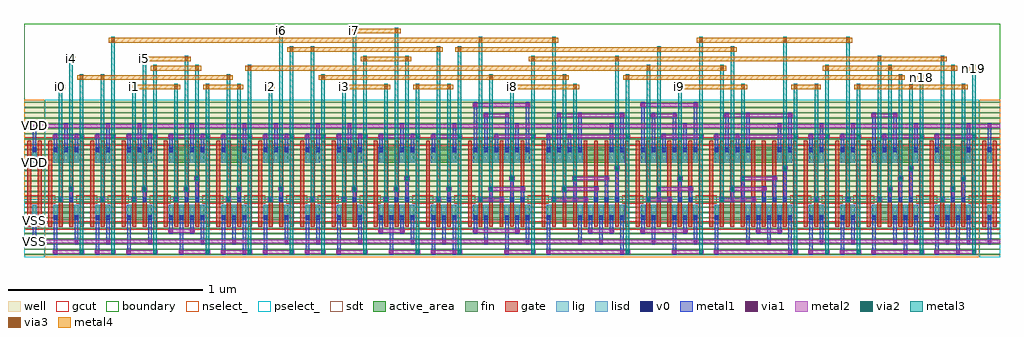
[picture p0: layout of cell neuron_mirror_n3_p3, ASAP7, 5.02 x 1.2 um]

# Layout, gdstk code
import gdstk
lib = gdstk.Library(unit=1e-6, precision=2.5e-10)
def R(c, l, rs):  # rectangles x0, y0, x1, y1
    for r in rs: c.add(gdstk.rectangle(r[:2], r[2:], *l))
def A(c, l, x, y, w, h, nx, ny, dx, dy):  # array of equal rectangles
    R(c, l, [(x+i*dx, y+j*dy, x+i*dx+w, y+j*dy+h) for i in range(nx) for j in range(ny)])
well = (1, 0)
fin = (2, 0)
gate = (7, 0)
gcut = (10, 0)
active_area = (11, 0)
nselect_ = (12, 0)
pselect_ = (13, 0)
lig = (16, 0)
lisd = (17, 0)
v0 = (18, 0)
metal1 = (19, 0)
metal2 = (20, 0)
via1 = (21, 0)
via2 = (25, 0)
metal3 = (30, 0)
via3 = (35, 0)
metal4 = (40, 0)
sdt = (88, 0)
boundary = (100, 0)

neuron_mirror_n3_p3 = lib.new_cell('neuron_mirror_n3_p3')
R(neuron_mirror_n3_p3, well, [(0,0.297,0.108,0.81), (0.108,0.297,0.324,0.81), (0.324,0.297,0.486,0.81), (0.486,0.297,0.702,0.81), (0.702,0.297,0.972,0.81), (0.972,0.297,1.188,0.81), (1.188,0.297,1.404,0.81), (1.404,0.297,1.566,0.81), (1.566,0.297,1.782,0.81), (1.782,0.297,2.052,0.81), (2.052,0.297,2.268,0.81), (2.268,0.297,2.646,0.81), (2.646,0.297,3.132,0.81), (3.132,0.297,3.51,0.81), (3.51,0.297,3.996,0.81), (3.996,0.297,4.158,0.81), (4.158,0.297,4.32,0.81), (4.32,0.297,4.644,0.81), (4.644,0.297,4.914,0.81), (4.914,0.297,5.022,0.81)])
A(neuron_mirror_n3_p3, fin, 0, 0.01, 0.108, 0.007, 1, 30, 0, 0.027)
A(neuron_mirror_n3_p3, fin, 0.108, 0.01, 0.216, 0.007, 1, 30, 0, 0.027)
A(neuron_mirror_n3_p3, fin, 0.324, 0.01, 0.162, 0.007, 1, 30, 0, 0.027)
A(neuron_mirror_n3_p3, fin, 0.486, 0.01, 0.216, 0.007, 1, 30, 0, 0.027)
A(neuron_mirror_n3_p3, fin, 0.702, 0.01, 0.27, 0.007, 1, 30, 0, 0.027)
A(neuron_mirror_n3_p3, fin, 0.972, 0.01, 0.216, 0.007, 1, 30, 0, 0.027)
A(neuron_mirror_n3_p3, fin, 1.188, 0.01, 0.216, 0.007, 1, 30, 0, 0.027)
A(neuron_mirror_n3_p3, fin, 1.404, 0.01, 0.162, 0.007, 1, 30, 0, 0.027)
A(neuron_mirror_n3_p3, fin, 1.566, 0.01, 0.216, 0.007, 1, 30, 0, 0.027)
A(neuron_mirror_n3_p3, fin, 1.782, 0.01, 0.27, 0.007, 1, 30, 0, 0.027)
A(neuron_mirror_n3_p3, fin, 2.052, 0.01, 0.216, 0.007, 1, 30, 0, 0.027)
A(neuron_mirror_n3_p3, fin, 2.268, 0.01, 0.378, 0.007, 1, 30, 0, 0.027)
A(neuron_mirror_n3_p3, fin, 2.646, 0.01, 0.486, 0.007, 1, 30, 0, 0.027)
A(neuron_mirror_n3_p3, fin, 3.132, 0.01, 0.378, 0.007, 1, 30, 0, 0.027)
A(neuron_mirror_n3_p3, fin, 3.51, 0.01, 0.486, 0.007, 1, 30, 0, 0.027)
A(neuron_mirror_n3_p3, fin, 3.996, 0.01, 0.162, 0.007, 1, 30, 0, 0.027)
A(neuron_mirror_n3_p3, fin, 4.158, 0.01, 0.162, 0.007, 1, 30, 0, 0.027)
A(neuron_mirror_n3_p3, fin, 4.32, 0.01, 0.324, 0.007, 1, 30, 0, 0.027)
A(neuron_mirror_n3_p3, fin, 4.644, 0.01, 0.27, 0.007, 1, 30, 0, 0.027)
A(neuron_mirror_n3_p3, fin, 4.914, 0.01, 0.108, 0.007, 1, 30, 0, 0.027)
A(neuron_mirror_n3_p3, gate, 0.017, 0.157, 0.02, 0.442, 93, 1, 0.054, 0)
R(neuron_mirror_n3_p3, gcut, [(0,0.14,0.108,0.184), (0.108,0.14,0.324,0.184), (0.324,0.14,0.486,0.184), (0.486,0.14,0.702,0.184), (0.702,0.14,0.972,0.184), (0.972,0.14,1.188,0.184), (1.188,0.14,1.404,0.184), (1.404,0.14,1.566,0.184), (1.566,0.14,1.782,0.184), (1.782,0.14,2.052,0.184), (2.052,0.14,2.268,0.184), (2.268,0.14,2.646,0.184), (2.646,0.14,3.132,0.184), (3.132,0.14,3.51,0.184), (3.51,0.14,3.996,0.184), (3.996,0.14,4.158,0.184), (4.158,0.14,4.32,0.184), (4.32,0.14,4.644,0.184), (4.644,0.14,4.914,0.184), (4.914,0.14,5.022,0.184), (0,0.275,0.108,0.319), (0.108,0.275,0.162,0.319), (0.27,0.275,0.324,0.319), (0.324,0.275,0.378,0.319), (0.432,0.275,0.486,0.319), (0.486,0.275,0.54,0.319), (0.648,0.275,0.702,0.319), (0.702,0.275,0.756,0.319), (0.918,0.275,0.972,0.319), (0.972,0.275,1.026,0.319), (1.134,0.275,1.188,0.319), (1.188,0.275,1.242,0.319), (1.35,0.275,1.404,0.319), (1.404,0.275,1.458,0.319), (1.512,0.275,1.566,0.319), (1.566,0.275,1.62,0.319), (1.728,0.275,1.782,0.319), (1.782,0.275,1.836,0.319), (1.998,0.275,2.052,0.319), (2.052,0.275,2.106,0.319), (2.214,0.275,2.268,0.319), (2.268,0.275,2.322,0.319), (2.592,0.275,2.646,0.319), (2.646,0.275,2.7,0.319), (3.078,0.275,3.132,0.319), (3.132,0.275,3.186,0.319), (3.456,0.275,3.51,0.319), (3.51,0.275,3.564,0.319), (3.942,0.275,3.996,0.319), (3.996,0.275,4.05,0.319), (4.104,0.275,4.158,0.319), (4.158,0.275,4.212,0.319), (4.266,0.275,4.32,0.319), (4.32,0.275,4.374,0.319), (4.59,0.275,4.644,0.319), (4.644,0.275,4.698,0.319), (4.86,0.275,4.914,0.319), (4.914,0.275,5.022,0.319), (0,0.572,0.108,0.616), (0.108,0.572,0.324,0.616), (0.324,0.572,0.486,0.616), (0.486,0.572,0.702,0.616), (0.702,0.572,0.972,0.616), (0.972,0.572,1.188,0.616), (1.188,0.572,1.404,0.616), (1.404,0.572,1.566,0.616), (1.566,0.572,1.782,0.616), (1.782,0.572,2.052,0.616), (2.052,0.572,2.268,0.616), (2.268,0.572,2.646,0.616), (2.646,0.572,3.132,0.616), (3.132,0.572,3.51,0.616), (3.51,0.572,3.996,0.616), (3.996,0.572,4.158,0.616), (4.158,0.572,4.32,0.616), (4.32,0.572,4.644,0.616), (4.644,0.572,4.914,0.616), (4.914,0.572,5.022,0.616)])
R(neuron_mirror_n3_p3, active_area, [(0.046,0.189,0.062,0.27), (0.154,0.189,0.278,0.27), (0.37,0.189,0.44,0.27), (0.532,0.189,0.656,0.27), (0.748,0.189,0.926,0.27), (1.018,0.189,1.142,0.27), (1.234,0.189,1.358,0.27), (1.45,0.189,1.52,0.27), (1.612,0.189,1.736,0.27), (1.828,0.189,2.006,0.27), (2.098,0.189,2.222,0.27), (2.314,0.189,2.6,0.27), (2.692,0.189,3.086,0.27), (3.178,0.189,3.464,0.27), (3.556,0.189,3.95,0.27), (4.042,0.189,4.112,0.27), (4.204,0.189,4.274,0.27), (4.366,0.189,4.598,0.27), (4.69,0.189,4.868,0.27), (4.96,0.189,4.976,0.27), (0.046,0.486,0.062,0.567), (0.154,0.486,0.278,0.567), (0.37,0.486,0.44,0.567), (0.532,0.486,0.656,0.567), (0.748,0.486,0.926,0.567), (1.018,0.486,1.142,0.567), (1.234,0.486,1.358,0.567), (1.45,0.486,1.52,0.567), (1.612,0.486,1.736,0.567), (1.828,0.486,2.006,0.567), (2.098,0.486,2.222,0.567), (2.314,0.486,2.6,0.567), (2.692,0.486,3.086,0.567), (3.178,0.486,3.464,0.567), (3.556,0.486,3.95,0.567), (4.042,0.486,4.112,0.567), (4.204,0.486,4.274,0.567), (4.366,0.486,4.598,0.567), (4.69,0.486,4.868,0.567), (4.96,0.486,4.976,0.567)])
R(neuron_mirror_n3_p3, nselect_, [(0.108,0,0.324,0.297), (0.324,0,0.486,0.297), (0.486,0,0.702,0.297), (0.702,0,0.972,0.297), (0.972,0,1.188,0.297), (1.188,0,1.404,0.297), (1.404,0,1.566,0.297), (1.566,0,1.782,0.297), (1.782,0,2.052,0.297), (2.052,0,2.268,0.297), (2.268,0,2.646,0.297), (2.646,0,3.132,0.297), (3.132,0,3.51,0.297), (3.51,0,3.996,0.297), (3.996,0,4.158,0.297), (4.158,0,4.32,0.297), (4.32,0,4.644,0.297), (4.644,0,4.914,0.297), (0,0.297,0.108,0.81), (4.914,0.297,5.022,0.81)])
R(neuron_mirror_n3_p3, pselect_, [(0,0,0.108,0.297), (4.914,0,5.022,0.297), (0.108,0.297,0.324,0.81), (0.324,0.297,0.486,0.81), (0.486,0.297,0.702,0.81), (0.702,0.297,0.972,0.81), (0.972,0.297,1.188,0.81), (1.188,0.297,1.404,0.81), (1.404,0.297,1.566,0.81), (1.566,0.297,1.782,0.81), (1.782,0.297,2.052,0.81), (2.052,0.297,2.268,0.81), (2.268,0.297,2.646,0.81), (2.646,0.297,3.132,0.81), (3.132,0.297,3.51,0.81), (3.51,0.297,3.996,0.81), (3.996,0.297,4.158,0.81), (4.158,0.297,4.32,0.81), (4.32,0.297,4.644,0.81), (4.644,0.297,4.914,0.81)])
A(neuron_mirror_n3_p3, lig, 0.232, 0.286, 0.022, 0.022, 3, 1, 0.162, 0)
A(neuron_mirror_n3_p3, lig, 0.772, 0.286, 0.022, 0.022, 3, 1, 0.054, 0)
A(neuron_mirror_n3_p3, lig, 1.312, 0.286, 0.022, 0.022, 3, 1, 0.162, 0)
A(neuron_mirror_n3_p3, lig, 1.852, 0.286, 0.022, 0.022, 3, 1, 0.054, 0)
A(neuron_mirror_n3_p3, lig, 2.338, 0.286, 0.022, 0.022, 5, 1, 0.054, 0)
A(neuron_mirror_n3_p3, lig, 2.716, 0.286, 0.022, 0.022, 7, 1, 0.054, 0)
A(neuron_mirror_n3_p3, lig, 3.202, 0.286, 0.022, 0.022, 5, 1, 0.054, 0)
A(neuron_mirror_n3_p3, lig, 3.58, 0.286, 0.022, 0.022, 7, 1, 0.054, 0)
A(neuron_mirror_n3_p3, lig, 4.066, 0.286, 0.022, 0.022, 3, 1, 0.162, 0)
A(neuron_mirror_n3_p3, lig, 4.444, 0.286, 0.022, 0.022, 3, 1, 0.054, 0)
A(neuron_mirror_n3_p3, lig, 4.714, 0.286, 0.022, 0.022, 3, 1, 0.054, 0)
R(neuron_mirror_n3_p3, lig, [(0.178,0.286,0.2,0.308), (0.61,0.286,0.632,0.308), (1.042,0.286,1.064,0.308), (1.096,0.286,1.118,0.308), (1.258,0.286,1.28,0.308), (1.69,0.286,1.712,0.308), (2.122,0.286,2.144,0.308), (2.176,0.286,2.198,0.308)])
A(neuron_mirror_n3_p3, lisd, 0.042, 0.189, 0.024, 0.081, 4, 1, 0.108, 0)
A(neuron_mirror_n3_p3, lisd, 0.42, 0.189, 0.024, 0.081, 4, 1, 0.108, 0)
A(neuron_mirror_n3_p3, lisd, 0.798, 0.189, 0.024, 0.081, 3, 1, 0.054, 0)
A(neuron_mirror_n3_p3, lisd, 1.014, 0.189, 0.024, 0.081, 3, 1, 0.054, 0)
A(neuron_mirror_n3_p3, lisd, 1.23, 0.189, 0.024, 0.081, 3, 1, 0.108, 0)
A(neuron_mirror_n3_p3, lisd, 1.5, 0.189, 0.024, 0.081, 4, 1, 0.108, 0)
A(neuron_mirror_n3_p3, lisd, 1.878, 0.189, 0.024, 0.081, 3, 1, 0.054, 0)
A(neuron_mirror_n3_p3, lisd, 2.094, 0.189, 0.024, 0.081, 3, 1, 0.054, 0)
A(neuron_mirror_n3_p3, lisd, 2.472, 0.189, 0.024, 0.081, 3, 1, 0.054, 0)
A(neuron_mirror_n3_p3, lisd, 2.85, 0.189, 0.024, 0.081, 5, 1, 0.054, 0)
A(neuron_mirror_n3_p3, lisd, 3.336, 0.189, 0.024, 0.081, 3, 1, 0.054, 0)
A(neuron_mirror_n3_p3, lisd, 3.714, 0.189, 0.024, 0.081, 5, 1, 0.054, 0)
A(neuron_mirror_n3_p3, lisd, 4.254, 0.189, 0.024, 0.081, 3, 1, 0.108, 0)
A(neuron_mirror_n3_p3, lisd, 4.686, 0.189, 0.024, 0.081, 4, 1, 0.054, 0)
A(neuron_mirror_n3_p3, lisd, 0.15, 0.486, 0.024, 0.081, 3, 1, 0.054, 0)
A(neuron_mirror_n3_p3, lisd, 0.528, 0.486, 0.024, 0.081, 3, 1, 0.054, 0)
A(neuron_mirror_n3_p3, lisd, 0.906, 0.486, 0.024, 0.081, 4, 1, 0.108, 0)
A(neuron_mirror_n3_p3, lisd, 1.608, 0.486, 0.024, 0.081, 3, 1, 0.054, 0)
A(neuron_mirror_n3_p3, lisd, 1.986, 0.486, 0.024, 0.081, 4, 1, 0.108, 0)
A(neuron_mirror_n3_p3, lisd, 2.364, 0.486, 0.024, 0.081, 5, 1, 0.054, 0)
A(neuron_mirror_n3_p3, lisd, 2.688, 0.486, 0.024, 0.081, 4, 1, 0.054, 0)
A(neuron_mirror_n3_p3, lisd, 3.174, 0.486, 0.024, 0.081, 6, 1, 0.054, 0)
A(neuron_mirror_n3_p3, lisd, 3.552, 0.486, 0.024, 0.081, 4, 1, 0.054, 0)
A(neuron_mirror_n3_p3, lisd, 4.362, 0.486, 0.024, 0.081, 3, 1, 0.054, 0)
R(neuron_mirror_n3_p3, lisd, [(2.31,0.189,2.334,0.27), (2.364,0.189,2.388,0.27), (2.688,0.189,2.712,0.27), (3.174,0.189,3.198,0.27), (3.228,0.189,3.252,0.27), (3.552,0.189,3.576,0.27), (4.038,0.189,4.062,0.27), (4.092,0.189,4.116,0.27), (4.2,0.189,4.224,0.27), (4.524,0.189,4.548,0.27), (4.578,0.189,4.602,0.27), (4.956,0.189,4.98,0.27), (0.042,0.486,0.066,0.567), (0.366,0.486,0.39,0.567), (0.42,0.486,0.444,0.567), (0.744,0.486,0.768,0.567), (0.852,0.486,0.876,0.567), (1.284,0.486,1.308,0.567), (1.338,0.486,1.362,0.567), (1.446,0.486,1.47,0.567), (1.5,0.486,1.524,0.567), (1.824,0.486,1.848,0.567), (1.932,0.486,1.956,0.567), (3.012,0.486,3.036,0.567), (3.066,0.486,3.09,0.567), (3.876,0.486,3.9,0.567), (3.93,0.486,3.954,0.567), (4.038,0.486,4.062,0.567), (4.092,0.486,4.116,0.567), (4.2,0.486,4.224,0.567), (4.254,0.486,4.278,0.567), (4.578,0.486,4.602,0.567), (4.686,0.486,4.71,0.567), (4.848,0.486,4.872,0.567), (4.956,0.486,4.98,0.567)])
A(neuron_mirror_n3_p3, v0, 0.045, 0.1935, 0.018, 0.018, 4, 1, 0.108, 0)
A(neuron_mirror_n3_p3, v0, 0.423, 0.1935, 0.018, 0.018, 4, 1, 0.108, 0)
A(neuron_mirror_n3_p3, v0, 0.801, 0.1935, 0.018, 0.018, 3, 1, 0.054, 0)
A(neuron_mirror_n3_p3, v0, 1.017, 0.1935, 0.018, 0.018, 3, 1, 0.054, 0)
A(neuron_mirror_n3_p3, v0, 1.233, 0.1935, 0.018, 0.018, 3, 1, 0.108, 0)
A(neuron_mirror_n3_p3, v0, 1.503, 0.1935, 0.018, 0.018, 4, 1, 0.108, 0)
A(neuron_mirror_n3_p3, v0, 1.881, 0.1935, 0.018, 0.018, 3, 1, 0.054, 0)
A(neuron_mirror_n3_p3, v0, 2.097, 0.1935, 0.018, 0.018, 3, 1, 0.054, 0)
A(neuron_mirror_n3_p3, v0, 2.475, 0.1935, 0.018, 0.018, 3, 1, 0.054, 0)
A(neuron_mirror_n3_p3, v0, 2.853, 0.1935, 0.018, 0.018, 5, 1, 0.054, 0)
A(neuron_mirror_n3_p3, v0, 3.339, 0.1935, 0.018, 0.018, 3, 1, 0.054, 0)
A(neuron_mirror_n3_p3, v0, 3.717, 0.1935, 0.018, 0.018, 5, 1, 0.054, 0)
A(neuron_mirror_n3_p3, v0, 4.257, 0.1935, 0.018, 0.018, 3, 1, 0.108, 0)
A(neuron_mirror_n3_p3, v0, 4.689, 0.1935, 0.018, 0.018, 4, 1, 0.054, 0)
A(neuron_mirror_n3_p3, v0, 0.234, 0.288, 0.018, 0.018, 3, 1, 0.162, 0)
A(neuron_mirror_n3_p3, v0, 0.774, 0.288, 0.018, 0.018, 3, 1, 0.054, 0)
A(neuron_mirror_n3_p3, v0, 1.314, 0.288, 0.018, 0.018, 3, 1, 0.162, 0)
A(neuron_mirror_n3_p3, v0, 1.854, 0.288, 0.018, 0.018, 3, 1, 0.054, 0)
A(neuron_mirror_n3_p3, v0, 2.34, 0.288, 0.018, 0.018, 5, 1, 0.054, 0)
A(neuron_mirror_n3_p3, v0, 2.718, 0.288, 0.018, 0.018, 7, 1, 0.054, 0)
A(neuron_mirror_n3_p3, v0, 3.204, 0.288, 0.018, 0.018, 5, 1, 0.054, 0)
A(neuron_mirror_n3_p3, v0, 3.582, 0.288, 0.018, 0.018, 7, 1, 0.054, 0)
A(neuron_mirror_n3_p3, v0, 4.068, 0.288, 0.018, 0.018, 3, 1, 0.162, 0)
A(neuron_mirror_n3_p3, v0, 4.446, 0.288, 0.018, 0.018, 3, 1, 0.054, 0)
A(neuron_mirror_n3_p3, v0, 4.716, 0.288, 0.018, 0.018, 3, 1, 0.054, 0)
A(neuron_mirror_n3_p3, v0, 0.153, 0.5445, 0.018, 0.018, 3, 1, 0.054, 0)
A(neuron_mirror_n3_p3, v0, 0.531, 0.5445, 0.018, 0.018, 3, 1, 0.054, 0)
A(neuron_mirror_n3_p3, v0, 0.909, 0.5445, 0.018, 0.018, 4, 1, 0.108, 0)
A(neuron_mirror_n3_p3, v0, 1.611, 0.5445, 0.018, 0.018, 3, 1, 0.054, 0)
A(neuron_mirror_n3_p3, v0, 1.989, 0.5445, 0.018, 0.018, 4, 1, 0.108, 0)
A(neuron_mirror_n3_p3, v0, 2.367, 0.5445, 0.018, 0.018, 5, 1, 0.054, 0)
A(neuron_mirror_n3_p3, v0, 2.691, 0.5445, 0.018, 0.018, 4, 1, 0.054, 0)
A(neuron_mirror_n3_p3, v0, 3.177, 0.5445, 0.018, 0.018, 6, 1, 0.054, 0)
A(neuron_mirror_n3_p3, v0, 3.555, 0.5445, 0.018, 0.018, 4, 1, 0.054, 0)
A(neuron_mirror_n3_p3, v0, 4.365, 0.5445, 0.018, 0.018, 3, 1, 0.054, 0)
R(neuron_mirror_n3_p3, v0, [(2.313,0.1935,2.331,0.2115), (2.367,0.1935,2.385,0.2115), (2.691,0.1935,2.709,0.2115), (3.177,0.1935,3.195,0.2115), (3.231,0.1935,3.249,0.2115), (3.555,0.1935,3.573,0.2115), (4.041,0.1935,4.059,0.2115), (4.095,0.1935,4.113,0.2115), (4.203,0.1935,4.221,0.2115), (4.527,0.1935,4.545,0.2115), (4.581,0.1935,4.599,0.2115), (4.959,0.1935,4.977,0.2115), (0.18,0.288,0.198,0.306), (0.612,0.288,0.63,0.306), (1.044,0.288,1.062,0.306), (1.098,0.288,1.116,0.306), (1.26,0.288,1.278,0.306), (1.692,0.288,1.71,0.306), (2.124,0.288,2.142,0.306), (2.178,0.288,2.196,0.306), (0.045,0.5445,0.063,0.5625), (0.369,0.5445,0.387,0.5625), (0.423,0.5445,0.441,0.5625), (0.747,0.5445,0.765,0.5625), (0.855,0.5445,0.873,0.5625), (1.287,0.5445,1.305,0.5625), (1.341,0.5445,1.359,0.5625), (1.449,0.5445,1.467,0.5625), (1.503,0.5445,1.521,0.5625), (1.827,0.5445,1.845,0.5625), (1.935,0.5445,1.953,0.5625), (3.015,0.5445,3.033,0.5625), (3.069,0.5445,3.087,0.5625), (3.879,0.5445,3.897,0.5625), (3.933,0.5445,3.951,0.5625), (4.041,0.5445,4.059,0.5625), (4.095,0.5445,4.113,0.5625), (4.203,0.5445,4.221,0.5625), (4.257,0.5445,4.275,0.5625), (4.581,0.5445,4.599,0.5625), (4.689,0.5445,4.707,0.5625), (4.851,0.5445,4.869,0.5625), (4.959,0.5445,4.977,0.5625)])
A(neuron_mirror_n3_p3, metal1, 1.017, 0.013, 0.018, 0.2035, 3, 1, 0.108, 0)
A(neuron_mirror_n3_p3, metal1, 4.041, 0.013, 0.018, 0.2035, 5, 1, 0.162, 0)
A(neuron_mirror_n3_p3, metal1, 2.151, 0.067, 0.018, 0.1495, 3, 1, 0.216, 0)
A(neuron_mirror_n3_p3, metal1, 4.743, 0.067, 0.018, 0.1495, 3, 1, 0.108, 0)
A(neuron_mirror_n3_p3, metal1, 1.044, 0.283, 0.018, 0.028, 3, 1, 0.216, 0)
A(neuron_mirror_n3_p3, metal1, 4.068, 0.283, 0.018, 0.028, 3, 1, 0.162, 0)
A(neuron_mirror_n3_p3, metal1, 0.153, 0.5395, 0.018, 0.0955, 3, 1, 0.108, 0)
A(neuron_mirror_n3_p3, metal1, 0.531, 0.5395, 0.018, 0.0955, 3, 1, 0.108, 0)
A(neuron_mirror_n3_p3, metal1, 0.585, 0.5395, 0.018, 0.1495, 3, 1, 0.27, 0)
A(neuron_mirror_n3_p3, metal1, 1.233, 0.5395, 0.018, 0.0955, 3, 1, 0.108, 0)
A(neuron_mirror_n3_p3, metal1, 1.611, 0.5395, 0.018, 0.0955, 3, 1, 0.108, 0)
A(neuron_mirror_n3_p3, metal1, 1.665, 0.5395, 0.018, 0.1495, 3, 1, 0.27, 0)
R(neuron_mirror_n3_p3, metal1, [(0.153,0.013,0.171,0.2165), (0.369,0.013,0.387,0.2165), (0.531,0.013,0.549,0.2165), (0.801,0.013,0.819,0.2165), (1.449,0.013,1.467,0.2165), (1.611,0.013,1.629,0.2165), (1.881,0.013,1.899,0.2165), (2.097,0.013,2.115,0.2165), (2.205,0.013,2.223,0.2165), (2.475,0.013,2.493,0.2165), (2.691,0.013,2.709,0.2165), (3.069,0.013,3.087,0.2165), (3.339,0.013,3.357,0.2165), (3.555,0.013,3.573,0.2165), (3.933,0.013,3.951,0.2165), (4.797,0.013,4.815,0.2165), (0.045,0.067,0.063,0.2165), (0.261,0.067,0.279,0.2165), (0.423,0.067,0.441,0.2165), (0.639,0.067,0.657,0.2165), (0.909,0.067,0.927,0.2165), (1.071,0.067,1.089,0.2165), (1.341,0.067,1.359,0.2165), (1.503,0.067,1.521,0.2165), (1.719,0.067,1.737,0.2165), (1.989,0.067,2.007,0.2165), (2.853,0.067,2.871,0.2165), (2.961,0.067,2.979,0.2165), (3.231,0.067,3.249,0.2165), (3.447,0.067,3.465,0.2165), (3.717,0.067,3.735,0.2165), (3.825,0.067,3.843,0.2165), (4.095,0.067,4.113,0.2165), (4.257,0.067,4.275,0.2165), (4.473,0.067,4.491,0.2165), (4.581,0.067,4.599,0.2165), (0.747,0.121,0.765,0.2165), (0.855,0.121,0.873,0.2165), (1.827,0.121,1.845,0.2165), (1.935,0.121,1.953,0.2165), (2.313,0.121,2.331,0.2165), (2.529,0.121,2.547,0.2165), (2.907,0.121,2.925,0.2165), (3.015,0.121,3.033,0.2165), (3.177,0.121,3.195,0.2165), (3.393,0.121,3.411,0.2165), (3.771,0.121,3.789,0.2165), (3.879,0.121,3.897,0.2165), (0.18,0.283,0.198,0.311), (0.234,0.283,0.252,0.365), (0.396,0.283,0.414,0.311), (0.558,0.283,0.576,0.311), (0.612,0.283,0.63,0.365), (0.774,0.283,0.792,0.311), (0.828,0.283,0.846,0.365), (0.882,0.283,0.9,0.419), (1.098,0.283,1.116,0.365), (1.314,0.283,1.332,0.365), (1.638,0.283,1.656,0.311), (1.692,0.283,1.71,0.365), (1.854,0.283,1.872,0.311), (1.908,0.283,1.926,0.365), (1.962,0.283,1.98,0.419), (2.124,0.283,2.142,0.311), (2.178,0.283,2.196,0.365), (2.34,0.283,2.358,0.311), (2.394,0.283,2.412,0.365), (2.448,0.283,2.466,0.311), (2.502,0.283,2.52,0.419), (2.556,0.283,2.574,0.365), (2.718,0.283,2.736,0.311), (2.772,0.283,2.79,0.365), (2.826,0.283,2.844,0.419), (2.88,0.283,2.898,0.311), (2.934,0.283,2.952,0.365), (2.988,0.283,3.006,0.419), (3.042,0.283,3.06,0.473), (3.204,0.283,3.222,0.311), (3.258,0.283,3.276,0.365), (3.312,0.283,3.33,0.311), (3.366,0.283,3.384,0.419), (3.42,0.283,3.438,0.365), (3.582,0.283,3.6,0.311), (3.636,0.283,3.654,0.365), (3.69,0.283,3.708,0.419), (3.744,0.283,3.762,0.311), (3.798,0.283,3.816,0.365), (3.852,0.283,3.87,0.419), (3.906,0.283,3.924,0.473), (4.446,0.283,4.464,0.365), (4.5,0.283,4.518,0.419), (4.554,0.283,4.572,0.473), (4.716,0.283,4.734,0.311), (4.77,0.283,4.788,0.365), (4.824,0.283,4.842,0.419), (0.045,0.5395,0.063,0.689), (0.207,0.5395,0.225,0.689), (0.423,0.5395,0.441,0.689), (0.909,0.5395,0.927,0.635), (1.017,0.5395,1.035,0.635), (1.287,0.5395,1.305,0.689), (1.503,0.5395,1.521,0.689), (1.989,0.5395,2.007,0.635), (2.097,0.5395,2.115,0.635), (2.313,0.5395,2.331,0.797), (2.367,0.5395,2.385,0.743), (2.421,0.5395,2.439,0.635), (2.475,0.5395,2.493,0.743), (2.529,0.5395,2.547,0.689), (2.583,0.5395,2.601,0.797), (2.691,0.5395,2.709,0.635), (2.745,0.5395,2.763,0.743), (2.799,0.5395,2.817,0.635), (2.853,0.5395,2.871,0.743), (3.015,0.5395,3.033,0.689), (3.069,0.5395,3.087,0.743), (3.177,0.5395,3.195,0.797), (3.231,0.5395,3.249,0.743), (3.285,0.5395,3.303,0.635), (3.339,0.5395,3.357,0.743), (3.393,0.5395,3.411,0.689), (3.447,0.5395,3.465,0.797), (3.555,0.5395,3.573,0.635), (3.609,0.5395,3.627,0.743), (3.663,0.5395,3.681,0.635), (3.717,0.5395,3.735,0.743), (3.879,0.5395,3.897,0.689), (3.933,0.5395,3.951,0.743), (4.041,0.5395,4.059,0.635), (4.095,0.5395,4.113,0.689), (4.203,0.5395,4.221,0.635), (4.257,0.5395,4.275,0.689), (4.365,0.5395,4.383,0.743), (4.419,0.5395,4.437,0.635), (4.473,0.5395,4.491,0.743), (4.581,0.5395,4.599,0.689), (4.689,0.5395,4.707,0.635), (4.851,0.5395,4.869,0.689), (4.959,0.5395,4.977,0.689)])
A(neuron_mirror_n3_p3, metal2, 0.796, 0.018, 0.163, 0.018, 3, 1, 0.216, 0)
A(neuron_mirror_n3_p3, metal2, 0.742, 0.126, 0.136, 0.018, 3, 1, 1.08, 0)
A(neuron_mirror_n3_p3, metal2, 1.039, 0.288, 0.028, 0.018, 3, 1, 0.216, 0)
A(neuron_mirror_n3_p3, metal2, 4.063, 0.288, 0.028, 0.018, 3, 1, 0.162, 0)
A(neuron_mirror_n3_p3, metal2, 0.58, 0.666, 0.028, 0.018, 3, 1, 0.27, 0)
A(neuron_mirror_n3_p3, metal2, 1.66, 0.666, 0.028, 0.018, 3, 1, 0.27, 0)
R(neuron_mirror_n3_p3, metal2, [(0.148,0.018,0.311,0.036), (0.364,0.018,0.473,0.036), (0.526,0.018,0.689,0.036), (1.444,0.018,1.553,0.036), (1.606,0.018,1.769,0.036), (1.876,0.018,2.039,0.036), (2.092,0.018,2.255,0.036), (2.47,0.018,2.633,0.036), (2.686,0.018,3.119,0.036), (3.334,0.018,3.497,0.036), (3.55,0.018,3.983,0.036), (4.036,0.018,4.145,0.036), (4.198,0.018,4.307,0.036), (4.36,0.018,4.631,0.036), (4.684,0.018,4.901,0.036), (0,0.072,5.022,0.09), (0.04,0.072,0.068,0.09), (0.256,0.072,0.284,0.09), (0.418,0.072,0.446,0.09), (0.634,0.072,0.662,0.09), (0.904,0.072,0.932,0.09), (1.066,0.072,1.094,0.09), (1.336,0.072,1.364,0.09), (1.498,0.072,1.526,0.09), (1.714,0.072,1.742,0.09), (1.984,0.072,2.012,0.09), (2.146,0.072,2.174,0.09), (2.362,0.072,2.606,0.09), (2.848,0.072,2.984,0.09), (3.226,0.072,3.47,0.09), (3.712,0.072,3.848,0.09), (4.09,0.072,4.118,0.09), (4.252,0.072,4.28,0.09), (4.468,0.072,4.604,0.09), (4.738,0.072,4.874,0.09), (4.954,0.072,4.982,0.09), (2.308,0.126,2.552,0.144), (3.172,0.126,3.416,0.144), (3.766,0.126,3.902,0.144), (0.175,0.288,0.203,0.306), (0.391,0.288,0.419,0.306), (0.553,0.288,0.581,0.306), (0.769,0.288,0.797,0.306), (1.633,0.288,1.661,0.306), (1.849,0.288,1.877,0.306), (2.119,0.288,2.147,0.306), (2.335,0.288,2.471,0.306), (2.713,0.288,2.903,0.306), (3.199,0.288,3.335,0.306), (3.577,0.288,3.767,0.306), (4.711,0.288,4.739,0.306), (0.229,0.342,0.257,0.36), (0.607,0.342,0.635,0.36), (0.823,0.342,0.851,0.36), (1.093,0.342,1.121,0.36), (1.309,0.342,1.337,0.36), (1.687,0.342,1.715,0.36), (1.903,0.342,1.931,0.36), (2.173,0.342,2.201,0.36), (2.389,0.342,2.579,0.36), (2.767,0.342,2.957,0.36), (3.253,0.342,3.443,0.36), (3.631,0.342,3.821,0.36), (4.441,0.342,4.469,0.36), (4.765,0.342,4.793,0.36), (0.877,0.396,0.905,0.414), (1.957,0.396,1.985,0.414), (2.497,0.396,2.525,0.414), (2.821,0.396,3.011,0.414), (3.361,0.396,3.389,0.414), (3.685,0.396,3.875,0.414), (4.495,0.396,4.523,0.414), (4.819,0.396,4.847,0.414), (3.037,0.45,3.065,0.468), (3.901,0.45,3.929,0.468), (4.549,0.45,4.577,0.468), (0.148,0.612,0.311,0.63), (0.364,0.612,0.473,0.63), (0.526,0.612,0.689,0.63), (0.742,0.612,0.959,0.63), (1.012,0.612,1.175,0.63), (1.228,0.612,1.391,0.63), (1.444,0.612,1.553,0.63), (1.606,0.612,1.769,0.63), (1.822,0.612,2.039,0.63), (2.092,0.612,2.255,0.63), (2.416,0.612,2.633,0.63), (2.686,0.612,3.119,0.63), (3.28,0.612,3.497,0.63), (3.55,0.612,3.983,0.63), (4.036,0.612,4.145,0.63), (4.198,0.612,4.307,0.63), (4.414,0.612,4.631,0.63), (4.684,0.612,4.901,0.63), (0,0.666,5.022,0.684), (0.04,0.666,0.068,0.684), (0.202,0.666,0.23,0.684), (0.418,0.666,0.446,0.684), (1.282,0.666,1.31,0.684), (1.498,0.666,1.526,0.684), (2.524,0.666,2.552,0.684), (3.01,0.666,3.038,0.684), (3.388,0.666,3.416,0.684), (3.874,0.666,3.902,0.684), (4.09,0.666,4.118,0.684), (4.252,0.666,4.28,0.684), (4.576,0.666,4.604,0.684), (4.846,0.666,4.874,0.684), (4.954,0.666,4.982,0.684), (2.362,0.72,2.498,0.738), (2.74,0.72,3.092,0.738), (3.226,0.72,3.362,0.738), (3.604,0.72,3.956,0.738), (4.36,0.72,4.496,0.738), (2.308,0.774,2.606,0.792), (3.172,0.774,3.47,0.792)])
A(neuron_mirror_n3_p3, via1, 1.017, 0.018, 0.018, 0.018, 3, 1, 0.108, 0)
A(neuron_mirror_n3_p3, via1, 4.041, 0.018, 0.018, 0.018, 5, 1, 0.162, 0)
A(neuron_mirror_n3_p3, via1, 2.151, 0.072, 0.018, 0.018, 3, 1, 0.216, 0)
A(neuron_mirror_n3_p3, via1, 4.743, 0.072, 0.018, 0.018, 3, 1, 0.108, 0)
A(neuron_mirror_n3_p3, via1, 1.044, 0.288, 0.018, 0.018, 3, 1, 0.216, 0)
A(neuron_mirror_n3_p3, via1, 4.068, 0.288, 0.018, 0.018, 3, 1, 0.162, 0)
A(neuron_mirror_n3_p3, via1, 0.153, 0.612, 0.018, 0.018, 3, 1, 0.108, 0)
A(neuron_mirror_n3_p3, via1, 0.531, 0.612, 0.018, 0.018, 3, 1, 0.108, 0)
A(neuron_mirror_n3_p3, via1, 1.233, 0.612, 0.018, 0.018, 3, 1, 0.108, 0)
A(neuron_mirror_n3_p3, via1, 1.611, 0.612, 0.018, 0.018, 3, 1, 0.108, 0)
A(neuron_mirror_n3_p3, via1, 0.585, 0.666, 0.018, 0.018, 3, 1, 0.27, 0)
A(neuron_mirror_n3_p3, via1, 1.665, 0.666, 0.018, 0.018, 3, 1, 0.27, 0)
R(neuron_mirror_n3_p3, via1, [(0.153,0.018,0.171,0.036), (0.369,0.018,0.387,0.036), (0.531,0.018,0.549,0.036), (0.801,0.018,0.819,0.036), (1.449,0.018,1.467,0.036), (1.611,0.018,1.629,0.036), (1.881,0.018,1.899,0.036), (2.097,0.018,2.115,0.036), (2.205,0.018,2.223,0.036), (2.475,0.018,2.493,0.036), (2.691,0.018,2.709,0.036), (3.069,0.018,3.087,0.036), (3.339,0.018,3.357,0.036), (3.555,0.018,3.573,0.036), (3.933,0.018,3.951,0.036), (4.797,0.018,4.815,0.036), (0.045,0.072,0.063,0.09), (0.261,0.072,0.279,0.09), (0.423,0.072,0.441,0.09), (0.639,0.072,0.657,0.09), (0.909,0.072,0.927,0.09), (1.071,0.072,1.089,0.09), (1.341,0.072,1.359,0.09), (1.503,0.072,1.521,0.09), (1.719,0.072,1.737,0.09), (1.989,0.072,2.007,0.09), (2.853,0.072,2.871,0.09), (2.961,0.072,2.979,0.09), (3.231,0.072,3.249,0.09), (3.447,0.072,3.465,0.09), (3.717,0.072,3.735,0.09), (3.825,0.072,3.843,0.09), (4.095,0.072,4.113,0.09), (4.257,0.072,4.275,0.09), (4.473,0.072,4.491,0.09), (4.581,0.072,4.599,0.09), (0.747,0.126,0.765,0.144), (0.855,0.126,0.873,0.144), (1.827,0.126,1.845,0.144), (1.935,0.126,1.953,0.144), (2.313,0.126,2.331,0.144), (2.529,0.126,2.547,0.144), (2.907,0.126,2.925,0.144), (3.015,0.126,3.033,0.144), (3.177,0.126,3.195,0.144), (3.393,0.126,3.411,0.144), (3.771,0.126,3.789,0.144), (3.879,0.126,3.897,0.144), (0.18,0.288,0.198,0.306), (0.396,0.288,0.414,0.306), (0.558,0.288,0.576,0.306), (0.774,0.288,0.792,0.306), (1.638,0.288,1.656,0.306), (1.854,0.288,1.872,0.306), (2.124,0.288,2.142,0.306), (2.34,0.288,2.358,0.306), (2.448,0.288,2.466,0.306), (2.718,0.288,2.736,0.306), (2.88,0.288,2.898,0.306), (3.204,0.288,3.222,0.306), (3.312,0.288,3.33,0.306), (3.582,0.288,3.6,0.306), (3.744,0.288,3.762,0.306), (4.716,0.288,4.734,0.306), (0.234,0.342,0.252,0.36), (0.612,0.342,0.63,0.36), (0.828,0.342,0.846,0.36), (1.098,0.342,1.116,0.36), (1.314,0.342,1.332,0.36), (1.692,0.342,1.71,0.36), (1.908,0.342,1.926,0.36), (2.178,0.342,2.196,0.36), (2.394,0.342,2.412,0.36), (2.556,0.342,2.574,0.36), (2.772,0.342,2.79,0.36), (2.934,0.342,2.952,0.36), (3.258,0.342,3.276,0.36), (3.42,0.342,3.438,0.36), (3.636,0.342,3.654,0.36), (3.798,0.342,3.816,0.36), (4.446,0.342,4.464,0.36), (4.77,0.342,4.788,0.36), (0.882,0.396,0.9,0.414), (1.962,0.396,1.98,0.414), (2.502,0.396,2.52,0.414), (2.826,0.396,2.844,0.414), (2.988,0.396,3.006,0.414), (3.366,0.396,3.384,0.414), (3.69,0.396,3.708,0.414), (3.852,0.396,3.87,0.414), (4.5,0.396,4.518,0.414), (4.824,0.396,4.842,0.414), (3.042,0.45,3.06,0.468), (3.906,0.45,3.924,0.468), (4.554,0.45,4.572,0.468), (0.909,0.612,0.927,0.63), (1.017,0.612,1.035,0.63), (1.989,0.612,2.007,0.63), (2.097,0.612,2.115,0.63), (2.421,0.612,2.439,0.63), (2.691,0.612,2.709,0.63), (2.799,0.612,2.817,0.63), (3.285,0.612,3.303,0.63), (3.555,0.612,3.573,0.63), (3.663,0.612,3.681,0.63), (4.041,0.612,4.059,0.63), (4.203,0.612,4.221,0.63), (4.419,0.612,4.437,0.63), (4.689,0.612,4.707,0.63), (0.045,0.666,0.063,0.684), (0.207,0.666,0.225,0.684), (0.423,0.666,0.441,0.684), (1.287,0.666,1.305,0.684), (1.503,0.666,1.521,0.684), (2.529,0.666,2.547,0.684), (3.015,0.666,3.033,0.684), (3.393,0.666,3.411,0.684), (3.879,0.666,3.897,0.684), (4.095,0.666,4.113,0.684), (4.257,0.666,4.275,0.684), (4.581,0.666,4.599,0.684), (4.851,0.666,4.869,0.684), (4.959,0.666,4.977,0.684), (2.367,0.72,2.385,0.738), (2.475,0.72,2.493,0.738), (2.745,0.72,2.763,0.738), (2.853,0.72,2.871,0.738), (3.069,0.72,3.087,0.738), (3.231,0.72,3.249,0.738), (3.339,0.72,3.357,0.738), (3.609,0.72,3.627,0.738), (3.717,0.72,3.735,0.738), (3.933,0.72,3.951,0.738), (4.365,0.72,4.383,0.738), (4.473,0.72,4.491,0.738), (2.313,0.774,2.331,0.792), (2.583,0.774,2.601,0.792), (3.177,0.774,3.195,0.792), (3.447,0.774,3.465,0.792)])
A(neuron_mirror_n3_p3, via2, 0.936, 0.018, 0.018, 0.018, 3, 2, 0.216, 0.594)
A(neuron_mirror_n3_p3, via2, 3.96, 0.018, 0.018, 0.018, 3, 2, 0.162, 0.594)
A(neuron_mirror_n3_p3, via2, 1.044, 0.288, 0.018, 0.018, 3, 1, 0.216, 0)
A(neuron_mirror_n3_p3, via2, 4.068, 0.288, 0.018, 0.018, 3, 1, 0.162, 0)
R(neuron_mirror_n3_p3, via2, [(0.288,0.018,0.306,0.036), (0.45,0.018,0.468,0.036), (0.666,0.018,0.684,0.036), (1.53,0.018,1.548,0.036), (1.746,0.018,1.764,0.036), (2.016,0.018,2.034,0.036), (2.232,0.018,2.25,0.036), (2.61,0.018,2.628,0.036), (3.096,0.018,3.114,0.036), (3.474,0.018,3.492,0.036), (4.608,0.018,4.626,0.036), (4.878,0.018,4.896,0.036), (0.18,0.288,0.198,0.306), (0.396,0.288,0.414,0.306), (0.558,0.288,0.576,0.306), (0.774,0.288,0.792,0.306), (1.638,0.288,1.656,0.306), (1.854,0.288,1.872,0.306), (2.124,0.288,2.142,0.306), (2.34,0.288,2.358,0.306), (2.718,0.288,2.736,0.306), (3.204,0.288,3.222,0.306), (3.582,0.288,3.6,0.306), (4.716,0.288,4.734,0.306), (0.234,0.342,0.252,0.36), (0.612,0.342,0.63,0.36), (0.828,0.342,0.846,0.36), (1.098,0.342,1.116,0.36), (1.314,0.342,1.332,0.36), (1.692,0.342,1.71,0.36), (1.908,0.342,1.926,0.36), (2.178,0.342,2.196,0.36), (2.394,0.342,2.412,0.36), (2.772,0.342,2.79,0.36), (3.258,0.342,3.276,0.36), (3.636,0.342,3.654,0.36), (4.446,0.342,4.464,0.36), (4.77,0.342,4.788,0.36), (0.882,0.396,0.9,0.414), (1.962,0.396,1.98,0.414), (2.502,0.396,2.52,0.414), (2.826,0.396,2.844,0.414), (3.366,0.396,3.384,0.414), (3.69,0.396,3.708,0.414), (4.5,0.396,4.518,0.414), (4.824,0.396,4.842,0.414), (3.042,0.45,3.06,0.468), (3.906,0.45,3.924,0.468), (4.554,0.45,4.572,0.468), (0.288,0.612,0.306,0.63), (0.45,0.612,0.468,0.63), (0.666,0.612,0.684,0.63), (1.53,0.612,1.548,0.63), (1.746,0.612,1.764,0.63), (2.016,0.612,2.034,0.63), (2.232,0.612,2.25,0.63), (2.61,0.612,2.628,0.63), (3.096,0.612,3.114,0.63), (3.474,0.612,3.492,0.63), (4.608,0.612,4.626,0.63), (4.878,0.612,4.896,0.63)])
A(neuron_mirror_n3_p3, metal3, 0.936, 0.013, 0.018, 0.622, 3, 1, 0.216, 0)
A(neuron_mirror_n3_p3, metal3, 3.96, 0.013, 0.018, 0.622, 3, 1, 0.162, 0)
A(neuron_mirror_n3_p3, metal3, 2.718, 0.283, 0.018, 0.85, 3, 1, 0.756, 0)
R(neuron_mirror_n3_p3, metal3, [(0.288,0.013,0.306,0.635), (0.45,0.013,0.468,0.635), (0.666,0.013,0.684,0.635), (1.53,0.013,1.548,0.635), (1.746,0.013,1.764,0.635), (2.016,0.013,2.034,0.635), (2.232,0.013,2.25,0.635), (2.61,0.013,2.628,0.635), (3.096,0.013,3.114,0.635), (3.474,0.013,3.492,0.635), (4.608,0.013,4.626,0.635), (4.878,0.013,4.896,0.635), (0.18,0.283,0.198,0.893), (0.288,0.283,0.306,0.941), (0.396,0.283,0.414,0.941), (0.45,0.283,0.468,1.133), (0.558,0.283,0.576,0.893), (0.666,0.283,0.684,0.989), (0.774,0.283,0.792,0.893), (0.936,0.283,0.954,0.893), (1.044,0.283,1.062,0.941), (1.152,0.283,1.17,0.989), (1.26,0.283,1.278,0.893), (1.368,0.283,1.386,1.085), (1.476,0.283,1.494,1.085), (1.53,0.283,1.548,0.941), (1.638,0.283,1.656,0.893), (1.746,0.283,1.764,1.037), (1.854,0.283,1.872,0.893), (2.016,0.283,2.034,0.893), (2.124,0.283,2.142,1.085), (2.232,0.283,2.25,1.085), (2.34,0.283,2.358,1.133), (2.61,0.283,2.628,1.037), (3.096,0.283,3.114,0.941), (3.204,0.283,3.222,0.989), (3.582,0.283,3.6,0.989), (3.96,0.283,3.978,0.893), (4.068,0.283,4.086,0.893), (4.122,0.283,4.14,0.989), (4.284,0.283,4.302,0.893), (4.392,0.283,4.41,1.037), (4.608,0.283,4.626,0.941), (4.716,0.283,4.734,1.037), (4.878,0.283,4.896,0.989), (0.234,0.337,0.252,1.037), (0.612,0.337,0.63,1.037), (0.828,0.337,0.846,1.037), (1.098,0.337,1.116,0.893), (1.314,0.337,1.332,1.181), (1.692,0.337,1.71,1.181), (1.908,0.337,1.926,1.181), (2.178,0.337,2.196,0.893), (2.394,0.337,2.412,0.941), (2.772,0.337,2.79,0.941), (3.258,0.337,3.276,1.085), (3.636,0.337,3.654,1.085), (4.446,0.337,4.464,0.989), (4.77,0.337,4.788,0.989), (0.882,0.391,0.9,0.989), (1.962,0.391,1.98,1.037), (2.502,0.391,2.52,0.893), (2.826,0.391,2.844,0.893), (3.366,0.391,3.384,0.893), (3.69,0.391,3.708,0.893), (4.5,0.391,4.518,0.941), (4.824,0.391,4.842,0.893), (3.042,0.445,3.06,1.037), (3.906,0.445,3.924,1.133), (4.554,0.445,4.572,0.893)])
A(neuron_mirror_n3_p3, via3, 0.774, 0.864, 0.018, 0.024, 4, 1, 0.162, 0)
A(neuron_mirror_n3_p3, via3, 1.854, 0.864, 0.018, 0.024, 3, 1, 0.162, 0)
A(neuron_mirror_n3_p3, via3, 4.284, 0.864, 0.018, 0.024, 3, 1, 0.27, 0)
A(neuron_mirror_n3_p3, via3, 4.122, 0.96, 0.018, 0.024, 3, 1, 0.324, 0)
R(neuron_mirror_n3_p3, via3, [(0.18,0.864,0.198,0.888), (0.558,0.864,0.576,0.888), (1.638,0.864,1.656,0.888), (2.502,0.864,2.52,0.888), (2.826,0.864,2.844,0.888), (3.366,0.864,3.384,0.888), (3.69,0.864,3.708,0.888), (3.96,0.864,3.978,0.888), (4.068,0.864,4.086,0.888), (0.288,0.912,0.306,0.936), (0.396,0.912,0.414,0.936), (1.044,0.912,1.062,0.936), (1.53,0.912,1.548,0.936), (2.394,0.912,2.412,0.936), (2.772,0.912,2.79,0.936), (3.096,0.912,3.114,0.936), (4.5,0.912,4.518,0.936), (4.608,0.912,4.626,0.936), (0.666,0.96,0.684,0.984), (0.882,0.96,0.9,0.984), (1.152,0.96,1.17,0.984), (3.204,0.96,3.222,0.984), (3.582,0.96,3.6,0.984), (4.878,0.96,4.896,0.984), (0.234,1.008,0.252,1.032), (0.612,1.008,0.63,1.032), (0.828,1.008,0.846,1.032), (1.746,1.008,1.764,1.032), (1.962,1.008,1.98,1.032), (2.61,1.008,2.628,1.032), (3.042,1.008,3.06,1.032), (4.392,1.008,4.41,1.032), (4.716,1.008,4.734,1.032), (1.368,1.056,1.386,1.08), (1.476,1.056,1.494,1.08), (2.124,1.056,2.142,1.08), (2.232,1.056,2.25,1.08), (3.258,1.056,3.276,1.08), (3.636,1.056,3.654,1.08), (0.45,1.104,0.468,1.128), (2.34,1.104,2.358,1.128), (2.718,1.104,2.736,1.128), (3.474,1.104,3.492,1.128), (3.906,1.104,3.924,1.128), (4.23,1.104,4.248,1.128), (1.314,1.152,1.332,1.176), (1.692,1.152,1.71,1.176), (1.908,1.152,1.926,1.176)])
R(neuron_mirror_n3_p3, metal4, [(0.167,0.864,0.211,0.888), (0.545,0.864,0.805,0.888), (0.923,0.864,1.129,0.888), (1.247,0.864,1.291,0.888), (1.625,0.864,1.885,0.888), (2.003,0.864,2.209,0.888), (2.489,0.864,2.857,0.888), (3.353,0.864,3.721,0.888), (3.947,0.864,4.099,0.888), (4.271,0.864,4.855,0.888), (0.275,0.912,1.075,0.936), (1.517,0.912,2.803,0.936), (3.083,0.912,4.531,0.936), (4.595,0.912,4.639,0.936), (0.653,0.96,0.913,0.984), (1.139,0.96,3.613,0.984), (4.109,0.96,4.801,0.984), (4.865,0.96,4.909,0.984), (0.221,1.008,0.265,1.032), (0.599,1.008,0.859,1.032), (1.733,1.008,1.993,1.032), (2.597,1.008,4.747,1.032), (1.355,1.056,2.155,1.08), (2.219,1.056,3.667,1.08), (0.437,1.104,2.749,1.128), (3.461,1.104,4.261,1.128), (1.301,1.152,1.345,1.176), (1.679,1.152,1.939,1.176)])
A(neuron_mirror_n3_p3, sdt, 0.042, 0.189, 0.024, 0.081, 4, 1, 0.108, 0)
A(neuron_mirror_n3_p3, sdt, 0.42, 0.189, 0.024, 0.081, 4, 1, 0.108, 0)
A(neuron_mirror_n3_p3, sdt, 0.798, 0.189, 0.024, 0.081, 3, 1, 0.054, 0)
A(neuron_mirror_n3_p3, sdt, 1.014, 0.189, 0.024, 0.081, 3, 1, 0.054, 0)
A(neuron_mirror_n3_p3, sdt, 1.23, 0.189, 0.024, 0.081, 3, 1, 0.108, 0)
A(neuron_mirror_n3_p3, sdt, 1.5, 0.189, 0.024, 0.081, 4, 1, 0.108, 0)
A(neuron_mirror_n3_p3, sdt, 1.878, 0.189, 0.024, 0.081, 3, 1, 0.054, 0)
A(neuron_mirror_n3_p3, sdt, 2.094, 0.189, 0.024, 0.081, 3, 1, 0.054, 0)
A(neuron_mirror_n3_p3, sdt, 2.472, 0.189, 0.024, 0.081, 3, 1, 0.054, 0)
A(neuron_mirror_n3_p3, sdt, 2.85, 0.189, 0.024, 0.081, 5, 1, 0.054, 0)
A(neuron_mirror_n3_p3, sdt, 3.336, 0.189, 0.024, 0.081, 3, 1, 0.054, 0)
A(neuron_mirror_n3_p3, sdt, 3.714, 0.189, 0.024, 0.081, 5, 1, 0.054, 0)
A(neuron_mirror_n3_p3, sdt, 4.254, 0.189, 0.024, 0.081, 3, 1, 0.108, 0)
A(neuron_mirror_n3_p3, sdt, 4.686, 0.189, 0.024, 0.081, 4, 1, 0.054, 0)
A(neuron_mirror_n3_p3, sdt, 0.15, 0.486, 0.024, 0.081, 3, 1, 0.054, 0)
A(neuron_mirror_n3_p3, sdt, 0.528, 0.486, 0.024, 0.081, 3, 1, 0.054, 0)
A(neuron_mirror_n3_p3, sdt, 0.906, 0.486, 0.024, 0.081, 4, 1, 0.108, 0)
A(neuron_mirror_n3_p3, sdt, 1.608, 0.486, 0.024, 0.081, 3, 1, 0.054, 0)
A(neuron_mirror_n3_p3, sdt, 1.986, 0.486, 0.024, 0.081, 4, 1, 0.108, 0)
A(neuron_mirror_n3_p3, sdt, 2.364, 0.486, 0.024, 0.081, 5, 1, 0.054, 0)
A(neuron_mirror_n3_p3, sdt, 2.688, 0.486, 0.024, 0.081, 4, 1, 0.054, 0)
A(neuron_mirror_n3_p3, sdt, 3.174, 0.486, 0.024, 0.081, 6, 1, 0.054, 0)
A(neuron_mirror_n3_p3, sdt, 3.552, 0.486, 0.024, 0.081, 4, 1, 0.054, 0)
A(neuron_mirror_n3_p3, sdt, 4.362, 0.486, 0.024, 0.081, 3, 1, 0.054, 0)
R(neuron_mirror_n3_p3, sdt, [(2.31,0.189,2.334,0.27), (2.364,0.189,2.388,0.27), (2.688,0.189,2.712,0.27), (3.174,0.189,3.198,0.27), (3.228,0.189,3.252,0.27), (3.552,0.189,3.576,0.27), (4.038,0.189,4.062,0.27), (4.092,0.189,4.116,0.27), (4.2,0.189,4.224,0.27), (4.524,0.189,4.548,0.27), (4.578,0.189,4.602,0.27), (4.956,0.189,4.98,0.27), (0.042,0.486,0.066,0.567), (0.366,0.486,0.39,0.567), (0.42,0.486,0.444,0.567), (0.744,0.486,0.768,0.567), (0.852,0.486,0.876,0.567), (1.284,0.486,1.308,0.567), (1.338,0.486,1.362,0.567), (1.446,0.486,1.47,0.567), (1.5,0.486,1.524,0.567), (1.824,0.486,1.848,0.567), (1.932,0.486,1.956,0.567), (3.012,0.486,3.036,0.567), (3.066,0.486,3.09,0.567), (3.876,0.486,3.9,0.567), (3.93,0.486,3.954,0.567), (4.038,0.486,4.062,0.567), (4.092,0.486,4.116,0.567), (4.2,0.486,4.224,0.567), (4.254,0.486,4.278,0.567), (4.578,0.486,4.602,0.567), (4.686,0.486,4.71,0.567), (4.848,0.486,4.872,0.567), (4.956,0.486,4.98,0.567)])
R(neuron_mirror_n3_p3, boundary, [(0,0,5.022,1.2)])
neuron_mirror_n3_p3.add(gdstk.Label('VSS', (0.054,0.081), layer=20, texttype=251))
neuron_mirror_n3_p3.add(gdstk.Label('VDD', (0.054,0.675), layer=20, texttype=251))
neuron_mirror_n3_p3.add(gdstk.Label('VSS', (0.054,0.189), layer=3, texttype=251))
neuron_mirror_n3_p3.add(gdstk.Label('VDD', (0.054,0.486), layer=1, texttype=251))
neuron_mirror_n3_p3.add(gdstk.Label('i0', (0.189,0.876), layer=40, texttype=251))
neuron_mirror_n3_p3.add(gdstk.Label('i4', (0.243,1.02), layer=40, texttype=251))
neuron_mirror_n3_p3.add(gdstk.Label('i1', (0.567,0.876), layer=40, texttype=251))
neuron_mirror_n3_p3.add(gdstk.Label('i5', (0.621,1.02), layer=40, texttype=251))
neuron_mirror_n3_p3.add(gdstk.Label('i2', (1.269,0.876), layer=40, texttype=251))
neuron_mirror_n3_p3.add(gdstk.Label('i6', (1.323,1.164), layer=40, texttype=251))
neuron_mirror_n3_p3.add(gdstk.Label('i3', (1.647,0.876), layer=40, texttype=251))
neuron_mirror_n3_p3.add(gdstk.Label('i7', (1.701,1.164), layer=40, texttype=251))
neuron_mirror_n3_p3.add(gdstk.Label('i8', (2.511,0.876), layer=40, texttype=251))
neuron_mirror_n3_p3.add(gdstk.Label('i9', (3.375,0.876), layer=40, texttype=251))
neuron_mirror_n3_p3.add(gdstk.Label('n18', (4.617,0.924), layer=40, texttype=251))
neuron_mirror_n3_p3.add(gdstk.Label('n19', (4.887,0.972), layer=40, texttype=251))

lib.write_gds('neuron_mirror_n3_p3.gds')
